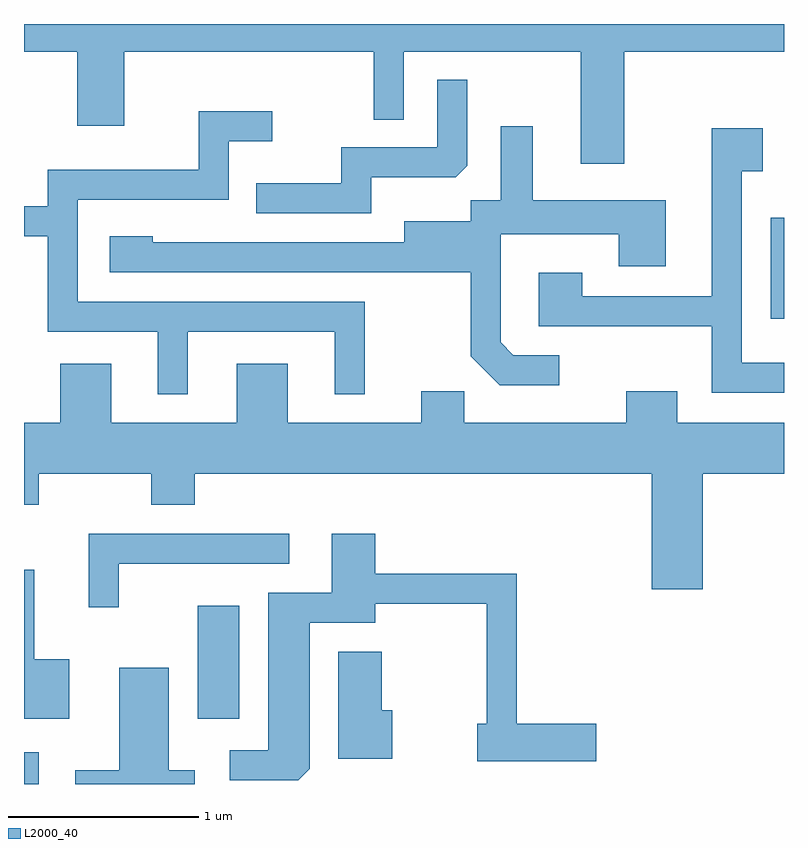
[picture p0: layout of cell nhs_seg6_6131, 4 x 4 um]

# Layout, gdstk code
import gdstk
lib = gdstk.Library(unit=1e-6, precision=1e-09)
def R(c, l, rs):  # rectangles x0, y0, x1, y1
    for r in rs: c.add(gdstk.rectangle(r[:2], r[2:], *l))
def P(c, l, *ps):  # polygons
    for p in ps: c.add(gdstk.Polygon(p, *l))
L2000_40 = (2000, 40)

nhs_seg6_6131 = lib.new_cell('nhs_seg6_6131')
R(nhs_seg6_6131, L2000_40, [(371.611,1566.162,371.689,1566.329), (372.526,1566.506,372.744,1567.099), (375.541,1568.611,375.611,1569.143)])
P(nhs_seg6_6131, L2000_40, [(374.769,1570.016),(375.611,1570.016),(375.611,1570.162),(371.611,1570.162),(371.611,1570.016),(371.891,1570.016),(371.891,1569.626),(372.139,1569.626),(372.139,1570.016),(373.451,1570.016),(373.451,1569.658),(373.609,1569.658),(373.609,1570.016),(374.541,1570.016),(374.541,1569.426),(374.769,1569.426)],
  [(373.439,1569.356),(373.884,1569.356),(373.944,1569.417),(373.944,1569.868),(373.786,1569.868),(373.786,1569.514),(373.281,1569.514),(373.281,1569.324),(372.833,1569.324),(372.833,1569.166),(373.439,1569.166)],
  [(372.474,1568.541),(373.246,1568.541),(373.246,1568.213),(373.404,1568.213),(373.404,1568.699),(371.894,1568.699),(371.894,1569.236),(372.689,1569.236),(372.689,1569.546),(372.918,1569.546),(372.918,1569.704),(372.531,1569.704),(372.531,1569.394),(371.736,1569.394),(371.736,1569.204),(371.611,1569.204),(371.611,1569.046),(371.736,1569.046),(371.736,1568.541),(372.316,1568.541),(372.316,1568.213),(372.474,1568.213)],
  [(374.428,1568.419),(374.187,1568.419),(374.119,1568.487),(374.119,1569.056),(374.741,1569.056),(374.741,1568.886),(374.989,1568.886),(374.989,1569.234),(374.289,1569.234),(374.289,1569.623),(374.121,1569.623),(374.121,1569.234),(373.961,1569.234),(373.961,1569.124),(373.611,1569.124),(373.611,1569.014),(372.289,1569.014),(372.289,1569.044),(372.061,1569.044),(372.061,1568.856),(373.961,1568.856),(373.961,1568.414),(374.114,1568.261),(374.428,1568.261)],
  [(375.611,1568.379),(375.389,1568.379),(375.389,1569.386),(375.499,1569.386),(375.499,1569.614),(375.231,1569.614),(375.231,1568.729),(374.549,1568.729),(374.549,1568.854),(374.321,1568.854),(374.321,1568.571),(375.231,1568.571),(375.231,1568.221),(375.611,1568.221)],
  [(375.184,1567.796),(375.611,1567.796),(375.611,1568.064),(375.049,1568.064),(375.049,1568.229),(374.781,1568.229),(374.781,1568.064),(373.929,1568.064),(373.929,1568.229),(373.701,1568.229),(373.701,1568.064),(372.999,1568.064),(372.999,1568.374),(372.731,1568.374),(372.731,1568.064),(372.069,1568.064),(372.069,1568.374),(371.801,1568.374),(371.801,1568.064),(371.611,1568.064),(371.611,1567.631),(371.689,1567.631),(371.689,1567.796),(372.281,1567.796),(372.281,1567.631),(372.509,1567.631),(372.509,1567.796),(374.916,1567.796),(374.916,1567.186),(375.184,1567.186)],
  [(372.109,1567.321),(373.008,1567.321),(373.008,1567.479),(371.951,1567.479),(371.951,1567.093),(372.109,1567.093)],
  [(373.114,1566.242),(373.114,1567.011),(373.459,1567.011),(373.459,1567.111),(374.046,1567.111),(374.046,1566.479),(373.996,1566.479),(373.996,1566.281),(374.624,1566.281),(374.624,1566.479),(374.204,1566.479),(374.204,1567.269),(373.459,1567.269),(373.459,1567.479),(373.231,1567.479),(373.231,1567.169),(372.896,1567.169),(372.896,1566.339),(372.693,1566.339),(372.693,1566.181),(373.054,1566.181)],
  [(371.849,1566.819),(371.664,1566.819),(371.664,1567.289),(371.611,1567.289),(371.611,1566.506),(371.849,1566.506)],
  [(373.549,1566.549),(373.494,1566.549),(373.494,1566.859),(373.266,1566.859),(373.266,1566.296),(373.549,1566.296)],
  [(372.509,1566.234),(372.374,1566.234),(372.374,1566.774),(372.111,1566.774),(372.111,1566.234),(371.881,1566.234),(371.881,1566.162),(372.509,1566.162)])

lib.write_gds('nhs_seg6_6131.gds')
